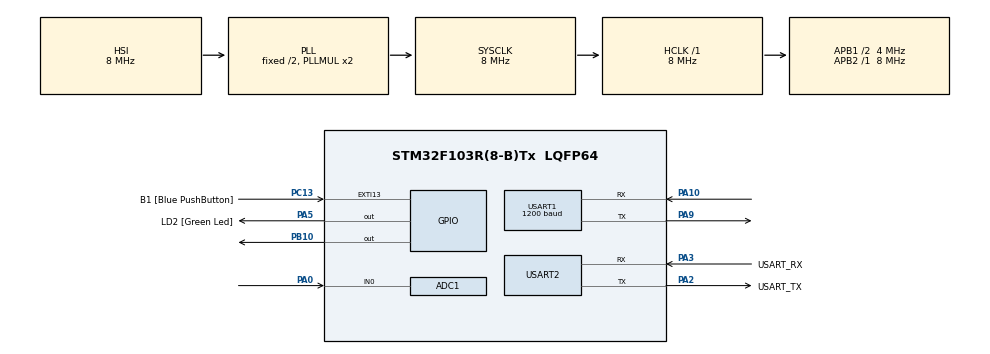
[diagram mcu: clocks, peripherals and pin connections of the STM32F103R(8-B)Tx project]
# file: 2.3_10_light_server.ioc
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ADC1.Channel-0\#ChannelRegularConversion=ADC_CHANNEL_0
ADC1.ExternalTrigConv=ADC_EXTERNALTRIGCONV_T1_CC1
ADC1.NbrOfConversionFlag=1
ADC1.Rank-0\#ChannelRegularConversion=1
ADC1.SamplingTime-0\#ChannelRegularConversion=ADC_SAMPLETIME_1CYCLE_5
ADC1.master=1
Mcu.Family=STM32F1
Mcu.Name=STM32F103R(8-B)Tx
Mcu.Package=LQFP64
NVIC.ADC1_2_IRQn=true\:0\:0\:false\:false\:true\:true\:true
NVIC.EXTI15_10_IRQn=true\:0\:0\:false\:false\:true\:true\:true
NVIC.PriorityGroup=NVIC_PRIORITYGROUP_4
NVIC.USART1_IRQn=true\:0\:0\:false\:false\:true\:true\:true
PA0-WKUP.Signal=ADCx_IN0
PA10.Mode=Asynchronous
PA10.Signal=USART1_RX
PA13.GPIO_Label=TMS
PA13.Mode=Serial_Wire
PA13.Signal=SYS_JTMS-SWDIO
PA14.GPIO_Label=TCK
PA14.Mode=Serial_Wire
PA14.Signal=SYS_JTCK-SWCLK
PA2.GPIO_Label=USART_TX
PA2.GPIO_Mode=GPIO_MODE_AF_PP
PA2.GPIO_PuPd=GPIO_NOPULL
PA2.GPIO_Speed=GPIO_SPEED_FREQ_LOW
PA2.Mode=Asynchronous
PA2.Signal=USART2_TX
PA3.GPIO_Label=USART_RX
PA3.GPIO_Mode=GPIO_MODE_AF_PP
PA3.GPIO_PuPd=GPIO_NOPULL
PA3.GPIO_Speed=GPIO_SPEED_FREQ_LOW
PA3.Mode=Asynchronous
PA3.Signal=USART2_RX
PA5.GPIO_Label=LD2 [Green Led]
PA5.GPIO_ModeDefaultOutputPP=GPIO_MODE_OUTPUT_PP
PA5.GPIO_PuPd=GPIO_NOPULL
PA5.GPIO_Speed=GPIO_SPEED_FREQ_LOW
PA5.Signal=GPIO_Output
PA9.Mode=Asynchronous
PA9.Signal=USART1_TX
PB10.Signal=GPIO_Output
PB3.GPIO_Label=SWO
PB3.Signal=SYS_JTDO-TRACESWO
PC13-TAMPER-RTC.GPIO_Label=B1 [Blue PushButton]
PC13-TAMPER-RTC.GPIO_PuPd=GPIO_NOPULL
PC13-TAMPER-RTC.Signal=GPXTI13
PC14-OSC32_IN.Mode=LSE-External-Oscillator
PC14-OSC32_IN.Signal=RCC_OSC32_IN
PC15-OSC32_OUT.Mode=LSE-External-Oscillator
PC15-OSC32_OUT.Signal=RCC_OSC32_OUT
PD0-OSC_IN.Mode=HSE-External-Clock-Source
PD0-OSC_IN.Signal=RCC_OSC_IN
PD1-OSC_OUT.Mode=HSE-External-Clock-Source
PD1-OSC_OUT.Signal=RCC_OSC_OUT
ProjectManager.HeapSize=0x200
ProjectManager.StackSize=0x400
ProjectManager.TargetToolchain=STM32CubeIDE
RCC.AHBFreq_Value=8000000
RCC.APB1CLKDivider=RCC_HCLK_DIV2
RCC.APB1Freq_Value=4000000
RCC.APB1TimFreq_Value=8000000
RCC.APB2Freq_Value=8000000
RCC.APB2TimFreq_Value=8000000
RCC.HCLKFreq_Value=8000000
RCC.RTCClockSelection=RCC_RTCCLKSOURCE_LSE
RCC.SYSCLKFreq_VALUE=8000000
RCC.SYSCLKSource=RCC_SYSCLKSOURCE_PLLCLK
RCC.USBFreq_Value=8000000
SH.ADCx_IN0.0=ADC1_IN0,IN0
TIM1.Channel-Output\ Compare1\ No\ Output=TIM_CHANNEL_1
TIM1.OCMode_1=TIM_OCMODE_TOGGLE
TIM1.Period=499
TIM1.Prescaler=7999
USART1.BaudRate=1200
USART1.VirtualMode=VM_ASYNC
USART2.VirtualMode=VM_ASYNC
VP_TIM1_VS_ClockSourceINT.Mode=Internal
VP_TIM1_VS_no_output1.Mode=Output Compare1 No Output
board=NUCLEO-F103RB

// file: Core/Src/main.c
/* USER CODE BEGIN Header */
/**
  ******************************************************************************
  * @file           : main.c
  * @brief          : Main program body
  ******************************************************************************
  * @attention
  *
  * <h2><center>&copy; Copyright (c) 2021 STMicroelectronics.
  * All rights reserved.</center></h2>
  *
  * This software component is licensed by ST under BSD 3-Clause license,
  * the "License"; You may not use this file except in compliance with the
  * License. You may obtain a copy of the License at:
  *                        opensource.org/licenses/BSD-3-Clause
  *
  ******************************************************************************
  */
/* USER CODE END Header */
#include "main.h"

/* USER CODE BEGIN Includes */
#include <stdio.h>
#include "../lib/uart.h"
#include "../lib/addresses.h"
/* USER CODE END Includes */

ADC_HandleTypeDef hadc1;

TIM_HandleTypeDef htim1;

UART_HandleTypeDef huart1;
UART_HandleTypeDef huart2;

/* USER CODE BEGIN PV */
uint8_t value[6]; //значение, считанное с uart
uint16_t counter = 1;
uint8_t dataLength;
uint8_t onLevel = 18, offLevel= 20, currLevel = 0;
uint8_t dataSense;
uint8_t ledState = 0;
/* USER CODE END PV */

void SystemClock_Config(void);
static void MX_GPIO_Init(void);
static void MX_ADC1_Init(void);
static void MX_TIM1_Init(void);
static void MX_USART1_UART_Init(void);
static void MX_USART2_UART_Init(void);

int main(void)
{
  /* USER CODE BEGIN 1 */
	__disable_irq();
	SCB->VTOR = FIRMWARE_START_ADDRESS;
	__enable_irq();
  /* USER CODE END 1 */

  /* MCU Configuration--------------------------------------------------------*/

  /* Reset of all peripherals, Initializes the Flash interface and the Systick. */
  HAL_Init();

  /* Configure the system clock */
  SystemClock_Config();

  /* Initialize all configured peripherals */
  MX_GPIO_Init();
  MX_ADC1_Init();
  MX_TIM1_Init();
  MX_USART1_UART_Init();
  MX_USART2_UART_Init();
  /* USER CODE BEGIN 2 */
  printf("rcc->csr = %lu\n", RCC->CSR);
  HAL_ADCEx_Calibration_Start(&hadc1);
  HAL_ADC_Start_IT(&hadc1);
  HAL_TIM_OC_Start(&htim1, TIM_CHANNEL_1);
  /* USER CODE END 2 */

  /* Infinite loop */
  /* USER CODE BEGIN WHILE */
  HAL_UART_Receive_IT(&huart1, value, 1);
  while (1)
  {
    /* USER CODE END WHILE */

  }
}

void SystemClock_Config(void)
{
  RCC_OscInitTypeDef RCC_OscInitStruct = {0};
  RCC_ClkInitTypeDef RCC_ClkInitStruct = {0};
  RCC_PeriphCLKInitTypeDef PeriphClkInit = {0};

  /** Initializes the RCC Oscillators according to the specified parameters
  * in the RCC_OscInitTypeDef structure.
  */
  RCC_OscInitStruct.OscillatorType = RCC_OSCILLATORTYPE_HSI;
  RCC_OscInitStruct.HSIState = RCC_HSI_ON;
  RCC_OscInitStruct.HSICalibrationValue = RCC_HSICALIBRATION_DEFAULT;
  RCC_OscInitStruct.PLL.PLLState = RCC_PLL_ON;
  RCC_OscInitStruct.PLL.PLLSource = RCC_PLLSOURCE_HSI_DIV2;
  RCC_OscInitStruct.PLL.PLLMUL = RCC_PLL_MUL2;
  if (HAL_RCC_OscConfig(&RCC_OscInitStruct) != HAL_OK)
  {
    Error_Handler();
  }
  /** Initializes the CPU, AHB and APB buses clocks
  */
  RCC_ClkInitStruct.ClockType = RCC_CLOCKTYPE_HCLK|RCC_CLOCKTYPE_SYSCLK
                              |RCC_CLOCKTYPE_PCLK1|RCC_CLOCKTYPE_PCLK2;
  RCC_ClkInitStruct.SYSCLKSource = RCC_SYSCLKSOURCE_PLLCLK;
  RCC_ClkInitStruct.AHBCLKDivider = RCC_SYSCLK_DIV1;
  RCC_ClkInitStruct.APB1CLKDivider = RCC_HCLK_DIV2;
  RCC_ClkInitStruct.APB2CLKDivider = RCC_HCLK_DIV1;

  if (HAL_RCC_ClockConfig(&RCC_ClkInitStruct, FLASH_LATENCY_0) != HAL_OK)
  {
    Error_Handler();
  }
  PeriphClkInit.PeriphClockSelection = RCC_PERIPHCLK_ADC;
  PeriphClkInit.AdcClockSelection = RCC_ADCPCLK2_DIV2;
  if (HAL_RCCEx_PeriphCLKConfig(&PeriphClkInit) != HAL_OK)
  {
    Error_Handler();
  }
}

static void MX_ADC1_Init(void)
{

  ADC_ChannelConfTypeDef sConfig = {0};

  /** Common config
  */
  hadc1.Instance = ADC1;
  hadc1.Init.ScanConvMode = ADC_SCAN_DISABLE;
  hadc1.Init.ContinuousConvMode = DISABLE;
  hadc1.Init.DiscontinuousConvMode = DISABLE;
  hadc1.Init.ExternalTrigConv = ADC_EXTERNALTRIGCONV_T1_CC1;
  hadc1.Init.DataAlign = ADC_DATAALIGN_RIGHT;
  hadc1.Init.NbrOfConversion = 1;
  if (HAL_ADC_Init(&hadc1) != HAL_OK)
  {
    Error_Handler();
  }
  /** Configure Regular Channel
  */
  sConfig.Channel = ADC_CHANNEL_0;
  sConfig.Rank = ADC_REGULAR_RANK_1;
  sConfig.SamplingTime = ADC_SAMPLETIME_1CYCLE_5;
  if (HAL_ADC_ConfigChannel(&hadc1, &sConfig) != HAL_OK)
  {
    Error_Handler();
  }

}

static void MX_TIM1_Init(void)
{

  TIM_ClockConfigTypeDef sClockSourceConfig = {0};
  TIM_MasterConfigTypeDef sMasterConfig = {0};
  TIM_OC_InitTypeDef sConfigOC = {0};
  TIM_BreakDeadTimeConfigTypeDef sBreakDeadTimeConfig = {0};

  htim1.Instance = TIM1;
  htim1.Init.Prescaler = 7999;
  htim1.Init.CounterMode = TIM_COUNTERMODE_UP;
  htim1.Init.Period = 499;
  htim1.Init.ClockDivision = TIM_CLOCKDIVISION_DIV1;
  htim1.Init.RepetitionCounter = 0;
  htim1.Init.AutoReloadPreload = TIM_AUTORELOAD_PRELOAD_DISABLE;
  if (HAL_TIM_Base_Init(&htim1) != HAL_OK)
  {
    Error_Handler();
  }
  sClockSourceConfig.ClockSource = TIM_CLOCKSOURCE_INTERNAL;
  if (HAL_TIM_ConfigClockSource(&htim1, &sClockSourceConfig) != HAL_OK)
  {
    Error_Handler();
  }
  if (HAL_TIM_OC_Init(&htim1) != HAL_OK)
  {
    Error_Handler();
  }
  sMasterConfig.MasterOutputTrigger = TIM_TRGO_RESET;
  sMasterConfig.MasterSlaveMode = TIM_MASTERSLAVEMODE_DISABLE;
  if (HAL_TIMEx_MasterConfigSynchronization(&htim1, &sMasterConfig) != HAL_OK)
  {
    Error_Handler();
  }
  sConfigOC.OCMode = TIM_OCMODE_TOGGLE;
  sConfigOC.Pulse = 0;
  sConfigOC.OCPolarity = TIM_OCPOLARITY_HIGH;
  sConfigOC.OCNPolarity = TIM_OCNPOLARITY_HIGH;
  sConfigOC.OCFastMode = TIM_OCFAST_DISABLE;
  sConfigOC.OCIdleState = TIM_OCIDLESTATE_RESET;
  sConfigOC.OCNIdleState = TIM_OCNIDLESTATE_RESET;
  if (HAL_TIM_OC_ConfigChannel(&htim1, &sConfigOC, TIM_CHANNEL_1) != HAL_OK)
  {
    Error_Handler();
  }
  sBreakDeadTimeConfig.OffStateRunMode = TIM_OSSR_DISABLE;
  sBreakDeadTimeConfig.OffStateIDLEMode = TIM_OSSI_DISABLE;
  sBreakDeadTimeConfig.LockLevel = TIM_LOCKLEVEL_OFF;
  sBreakDeadTimeConfig.DeadTime = 0;
  sBreakDeadTimeConfig.BreakState = TIM_BREAK_DISABLE;
  sBreakDeadTimeConfig.BreakPolarity = TIM_BREAKPOLARITY_HIGH;
  sBreakDeadTimeConfig.AutomaticOutput = TIM_AUTOMATICOUTPUT_DISABLE;
  if (HAL_TIMEx_ConfigBreakDeadTime(&htim1, &sBreakDeadTimeConfig) != HAL_OK)
  {
    Error_Handler();
  }

}

static void MX_USART1_UART_Init(void)
{

  huart1.Instance = USART1;
  huart1.Init.BaudRate = 1200;
  huart1.Init.WordLength = UART_WORDLENGTH_8B;
  huart1.Init.StopBits = UART_STOPBITS_1;
  huart1.Init.Parity = UART_PARITY_NONE;
  huart1.Init.Mode = UART_MODE_TX_RX;
  huart1.Init.HwFlowCtl = UART_HWCONTROL_NONE;
  huart1.Init.OverSampling = UART_OVERSAMPLING_16;
  if (HAL_UART_Init(&huart1) != HAL_OK)
  {
    Error_Handler();
  }

}

static void MX_USART2_UART_Init(void)
{

  huart2.Instance = USART2;
  huart2.Init.BaudRate = 115200;
  huart2.Init.WordLength = UART_WORDLENGTH_8B;
  huart2.Init.StopBits = UART_STOPBITS_1;
  huart2.Init.Parity = UART_PARITY_NONE;
  huart2.Init.Mode = UART_MODE_TX_RX;
  huart2.Init.HwFlowCtl = UART_HWCONTROL_NONE;
  huart2.Init.OverSampling = UART_OVERSAMPLING_16;
  if (HAL_UART_Init(&huart2) != HAL_OK)
  {
    Error_Handler();
  }

}

static void MX_GPIO_Init(void)
{
  GPIO_InitTypeDef GPIO_InitStruct = {0};

  /* GPIO Ports Clock Enable */
  __HAL_RCC_GPIOC_CLK_ENABLE();
  __HAL_RCC_GPIOD_CLK_ENABLE();
  __HAL_RCC_GPIOA_CLK_ENABLE();
  __HAL_RCC_GPIOB_CLK_ENABLE();

  /*Configure GPIO pin Output Level */
  HAL_GPIO_WritePin(LD2_GPIO_Port, LD2_Pin, GPIO_PIN_RESET);

  /*Configure GPIO pin Output Level */
  HAL_GPIO_WritePin(GPIOB, GPIO_PIN_10, GPIO_PIN_RESET);

  /*Configure GPIO pin : B1_Pin */
  GPIO_InitStruct.Pin = B1_Pin;
  GPIO_InitStruct.Mode = GPIO_MODE_IT_RISING;
  GPIO_InitStruct.Pull = GPIO_NOPULL;
  HAL_GPIO_Init(B1_GPIO_Port, &GPIO_InitStruct);

  /*Configure GPIO pin : LD2_Pin */
  GPIO_InitStruct.Pin = LD2_Pin;
  GPIO_InitStruct.Mode = GPIO_MODE_OUTPUT_PP;
  GPIO_InitStruct.Pull = GPIO_NOPULL;
  GPIO_InitStruct.Speed = GPIO_SPEED_FREQ_LOW;
  HAL_GPIO_Init(LD2_GPIO_Port, &GPIO_InitStruct);

  /*Configure GPIO pin : PB10 */
  GPIO_InitStruct.Pin = GPIO_PIN_10;
  GPIO_InitStruct.Mode = GPIO_MODE_OUTPUT_PP;
  GPIO_InitStruct.Pull = GPIO_NOPULL;
  GPIO_InitStruct.Speed = GPIO_SPEED_FREQ_LOW;
  HAL_GPIO_Init(GPIOB, &GPIO_InitStruct);

  /* EXTI interrupt init*/
  HAL_NVIC_SetPriority(EXTI15_10_IRQn, 0, 0);
  HAL_NVIC_EnableIRQ(EXTI15_10_IRQn);

}

/* USER CODE BEGIN 4 */
void HAL_UART_RxCpltCallback (UART_HandleTypeDef * huart) {
	if (++counter == 65535) counter = 0;
	printf("HAL_UART_RxCpltCallback c=%u", counter);
	if (value[0]) {
		if (HAL_UART_Receive(&huart1, (value+1), (value[0]+1), 500) == HAL_OK) {
			printf("0 = %d; 1 = %d; 2 = %d; c = %d;\n", value[0], value[1], value[2], counter);
			dataSense = dataDecrypt((char*)value);
			switch (dataSense) {
				case GET_CURR_LIGHT_LEVEL : {
					printf("\nsending CURRENT level = %d;\n", currLevel);
					dataLength = dataCreate((char*)value, CURR_LIGHT_LEVEL, currLevel);
					break;
				}
				case GET_LED_STATE : {
					printf("\nsending LED STATE = %d;\n", ledState);
					dataLength = dataCreate((char*)value, CURR_LED_STATE, ledState);
					break;
				}
				case GET_ON_LIGHT_LEVEL : {
					printf("\nsending ON level = %d;\n", onLevel);
					dataLength = dataCreate((char*)value, ON_LIGHT_LEVEL, onLevel);
					break;
				}
				case GET_OFF_LIGHT_LEVEL : {
					printf("\nsending OFF level = %d;\n", offLevel);
					dataLength = dataCreate((char*)value, OFF_LIGHT_LEVEL, offLevel);
					break;
				}
				case ON_LIGHT_LEVEL : {
					onLevel = value[2];
					printf("\ngetting NEW ON level = %d;\n", onLevel);
					dataLength = dataCreate((char*)value, DATA_OK, 0);
					break;
				}
				case OFF_LIGHT_LEVEL : {
					offLevel = value[2];
					printf("\ngetting NEW OFF level = %d;\n", offLevel);
					dataLength = dataCreate((char*)value, DATA_OK, 0);
					break;
				}
				case BOOTLOADER : {
					printf("\ngetting BOOTLOADER;\n");
					HAL_FLASH_Unlock();
					static uint32_t PAGEError; // = 0xFFFFFFFF;
					FLASH_EraseInitTypeDef EraseInitStruct;
					EraseInitStruct.TypeErase = FLASH_TYPEERASE_PAGES;
					EraseInitStruct.PageAddress = BOOTLOADER_FLAG_ADDRESS;
					EraseInitStruct.NbPages = 1;
					if (HAL_FLASHEx_Erase(&EraseInitStruct, &PAGEError) == HAL_OK) {
						uint32_t bootloaderFlag = BOOTLOADER;
						if (HAL_FLASH_Program(FLASH_TYPEPROGRAM_WORD, BOOTLOADER_FLAG_ADDRESS, bootloaderFlag) == HAL_OK) {
							HAL_FLASH_Lock();
							printf("\ngoing BOOTLOADER\n");
							HAL_DeInit();
							__disable_irq();
							HAL_NVIC_SystemReset();
						} else {
							printf("\nHAL_FLASH_Program_error\n");
							dataLength = dataCreate((char*)value, DATA_ERROR, 0);
						}
					} else {
						printf("\nHAL_FLASHEx_Erase_error\n");
						dataLength = dataCreate((char*)value, DATA_ERROR, 0);
					}
					HAL_FLASH_Lock();
					break;
				}
				default : {
					printf("\ndata_error\n");
					dataLength = dataCreate((char*)value, DATA_ERROR, 0);
					break;
				}
			}
			HAL_UART_Transmit(&huart1, value, dataLength, 500);
		} else {
			printf("\nHAL_UART_Receive_error\n");
			dataLength = dataCreate((char*)value, DATA_ERROR, 0);
		}
		HAL_UART_Receive_IT(&huart1, value, 1);
	}
}

void HAL_ADC_ConvCpltCallback(ADC_HandleTypeDef* hadc)
{
	currLevel = HAL_ADC_GetValue(hadc) / 100;
	if (currLevel <= onLevel && !ledState) {
		HAL_GPIO_WritePin(GPIOB, GPIO_PIN_10, GPIO_PIN_SET);
		ledState = 1;
	}
	if (currLevel >= offLevel && ledState) {
		HAL_GPIO_WritePin(GPIOB, GPIO_PIN_10, GPIO_PIN_RESET);
		ledState = 0;
	}
	printf("\ncurrLevel=%u", currLevel);
}

int _write(int file, char *ptr, int len) {
	//int i = 1;
	for (int i = 0; i < len; i++) {
		ITM_SendChar((*ptr++));
	}
	return len;
}
/* USER CODE END 4 */

void Error_Handler(void)
{
  __disable_irq();
  while (1)
  {
  }
}

/************************ (C) COPYRIGHT STMicroelectronics *****END OF FILE****/
